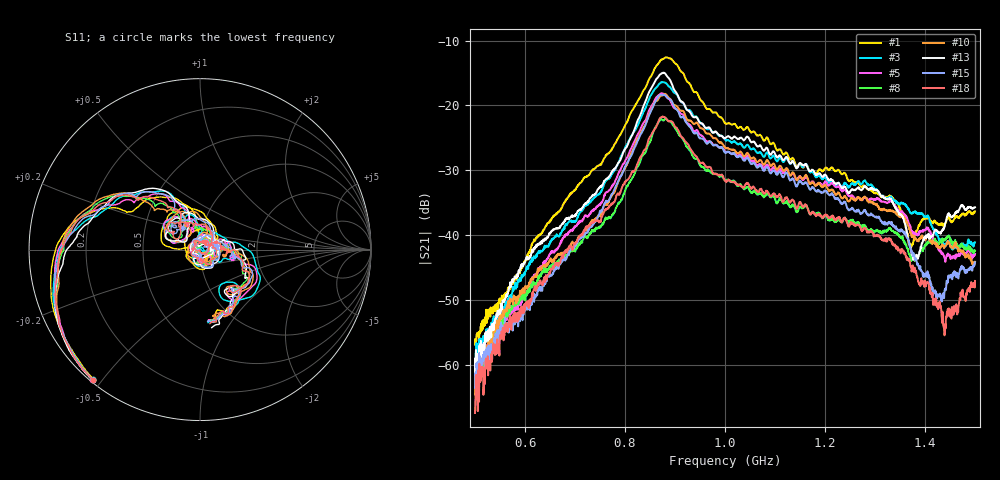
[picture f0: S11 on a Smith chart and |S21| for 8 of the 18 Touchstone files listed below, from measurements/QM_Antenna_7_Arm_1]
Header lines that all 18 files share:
!Agilent Technologies,E8364B,US42250235,A.06.04.32
!Agilent E8364B: A.06.04.32
!Correction: S11(Full 2 Port(1,2)) S21(Full 2 Port(1,2)) S12(Full 2 Port(1,2)) S22(Full 2 Port(1,2))
!S2P File: Measurements: S11, S21, S12, S22:
# Hz S  dB  R 50
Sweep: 500 MHz to 1.5 GHz
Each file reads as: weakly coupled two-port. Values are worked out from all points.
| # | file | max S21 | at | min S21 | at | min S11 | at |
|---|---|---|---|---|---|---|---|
| 1 | 0_3.s2p | -12.57 dB | 882.5 MHz | -56.9 dB | 500 MHz | -30.8 dB | 1.019 GHz |
| 2 | 0_4.s2p | -14.80 dB | 873.1 MHz | -57.5 dB | 500 MHz | -39.4 dB | 921.9 MHz |
| 3 | 0_6.s2p | -16.38 dB | 875 MHz | -61.6 dB | 500.6 MHz | -47.8 dB | 1.152 GHz |
| 4 | 0_7.s2p | -16.77 dB | 882.5 MHz | -62.5 dB | 509.4 MHz | -46.1 dB | 870 MHz |
| 5 | 0_8.s2p | -18.11 dB | 873.1 MHz | -63.0 dB | 501.2 MHz | -32.9 dB | 893.1 MHz |
| 6 | 0_10.s2p | -18.88 dB | 880 MHz | -64.4 dB | 500.6 MHz | -36.5 dB | 895 MHz |
| 7 | 1_5.s2p | -22.12 dB | 871.2 MHz | -64.8 dB | 506.2 MHz | -41.1 dB | 873.1 MHz |
| 8 | 1_6.s2p | -21.99 dB | 881.9 MHz | -64.2 dB | 503.1 MHz | -38.1 dB | 1.141 GHz |
| 9 | 2_2.s2p | -15.74 dB | 880 MHz | -58.1 dB | 500.6 MHz | -28.3 dB | 1.141 GHz |
| 10 | 2_4.s2p | -18.19 dB | 880 MHz | -64.9 dB | 505 MHz | -37.3 dB | 908.1 MHz |
| 11 | 2_6.s2p | -20.11 dB | 875 MHz | -65.3 dB | 503.1 MHz | -35.1 dB | 893.8 MHz |
| 12 | 3_3.s2p | -14.45 dB | 880.6 MHz | -60.3 dB | 500 MHz | -47.2 dB | 1.164 GHz |
| 13 | 4_1.s2p | -14.94 dB | 876.2 MHz | -61.6 dB | 500.6 MHz | -33.9 dB | 1.126 GHz |
| 14 | 4_3.s2p | -16.02 dB | 880.6 MHz | -61.5 dB | 503.1 MHz | -52.1 dB | 1.127 GHz |
| 15 | 4_5.s2p | -18.32 dB | 871.9 MHz | -63.5 dB | 500 MHz | -41.8 dB | 881.9 MHz |
| 16 | 4_6.s2p | -20.32 dB | 880 MHz | -67.7 dB | 501.2 MHz | -60.3 dB | 878.8 MHz |
| 17 | 5_4.s2p | -21.03 dB | 880 MHz | -72.4 dB | 501.2 MHz | -41.1 dB | 910 MHz |
| 18 | 5_6.s2p | -21.71 dB | 875 MHz | -67.4 dB | 500 MHz | -54.8 dB | 880.6 MHz |
